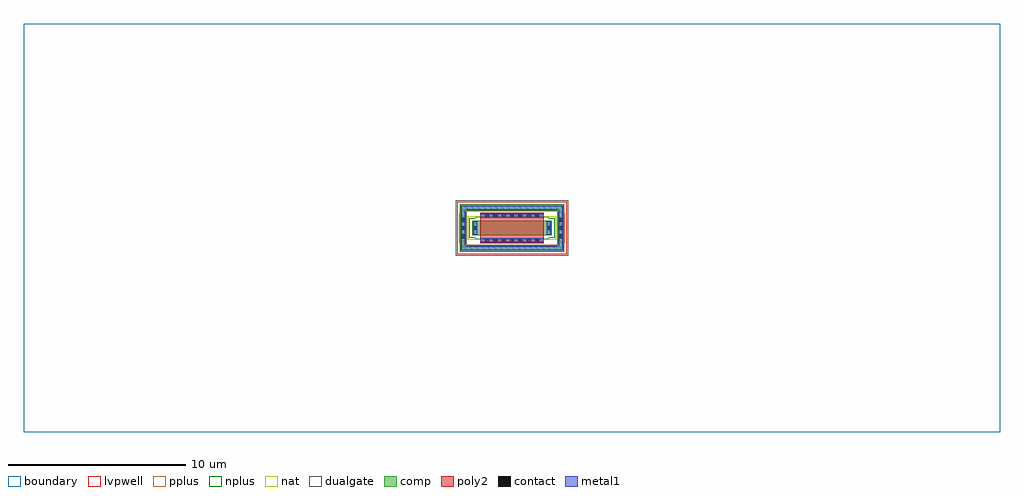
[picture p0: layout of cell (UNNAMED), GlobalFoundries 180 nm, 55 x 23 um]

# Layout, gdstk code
import gdstk
lib = gdstk.Library(unit=1e-6, precision=1e-09)
def R(c, l, rs):  # rectangles x0, y0, x1, y1
    for r in rs: c.add(gdstk.rectangle(r[:2], r[2:], *l))
def A(c, l, x, y, w, h, nx, ny, dx, dy):  # array of equal rectangles
    R(c, l, [(x+i*dx, y+j*dy, x+i*dx+w, y+j*dy+h) for i in range(nx) for j in range(ny)])
boundary = (0, 0)
nat = (5, 0)
comp = (22, 0)
poly2 = (30, 0)
pplus = (31, 0)
nplus = (32, 0)
contact = (33, 0)
metal1 = (34, 0)
dualgate = (55, 0)
lvpwell = (204, 0)

c__unnamed_ = lib.new_cell('(UNNAMED)')
R(c__unnamed_, boundary, [(-27.5,-11.5,27.5,11.5)])
R(c__unnamed_, nat, [(-2.5,-0.66,2.5,0.66)])
R(c__unnamed_, comp, [(-2.93,-1.33,2.93,-0.97), (-2.93,-0.97,-2.57,0.97), (2.57,-0.97,2.93,0.97), (-2.24,-0.4,2.24,0.4), (-2.93,0.97,2.93,1.33)])
R(c__unnamed_, poly2, [(-1.8,-0.86,1.8,0.86)])
R(c__unnamed_, pplus, [(-2.95,-1.35,2.95,-0.95), (-2.95,-0.95,-2.54,-0.845), (2.54,-0.95,2.95,-0.845), (-2.96,-0.845,-2.54,0.845), (2.54,-0.845,2.96,0.845), (-2.95,0.845,-2.54,0.95), (2.54,0.845,2.95,0.95), (-2.95,0.95,2.95,1.35)])
R(c__unnamed_, nplus, [(-2.03,-0.63,2.03,-0.56), (-2.4,-0.56,2.4,0.56), (-2.03,0.56,2.03,0.63)])
A(c__unnamed_, contact, -1.52, -0.79, 0.22, 0.22, 7, 2, 0.47, 1.36)
A(c__unnamed_, contact, -2.86, -0.58, 0.22, 0.22, 1, 3, 0, 0.47)
A(c__unnamed_, contact, 2.64, -0.58, 0.22, 0.22, 1, 3, 0, 0.47)
R(c__unnamed_, contact, [(-2.17,-0.11,-1.95,0.11), (1.95,-0.11,2.17,0.11)])
R(c__unnamed_, metal1, [(-2.865,-1.265,2.865,-1.035), (-2.865,-1.035,-2.635,1.035), (2.635,-1.035,2.865,1.035), (-1.79,-0.795,1.79,-0.565), (-2.175,-0.39,-1.945,0.39), (1.945,-0.39,2.175,0.39), (-1.79,0.565,1.79,0.795), (-2.865,1.035,2.865,1.265)])
R(c__unnamed_, dualgate, [(-3.17,-1.57,3.17,1.57)])
R(c__unnamed_, lvpwell, [(-3.09,-1.49,3.09,1.49)])

lib.write_gds('_UNNAMED_.gds')
